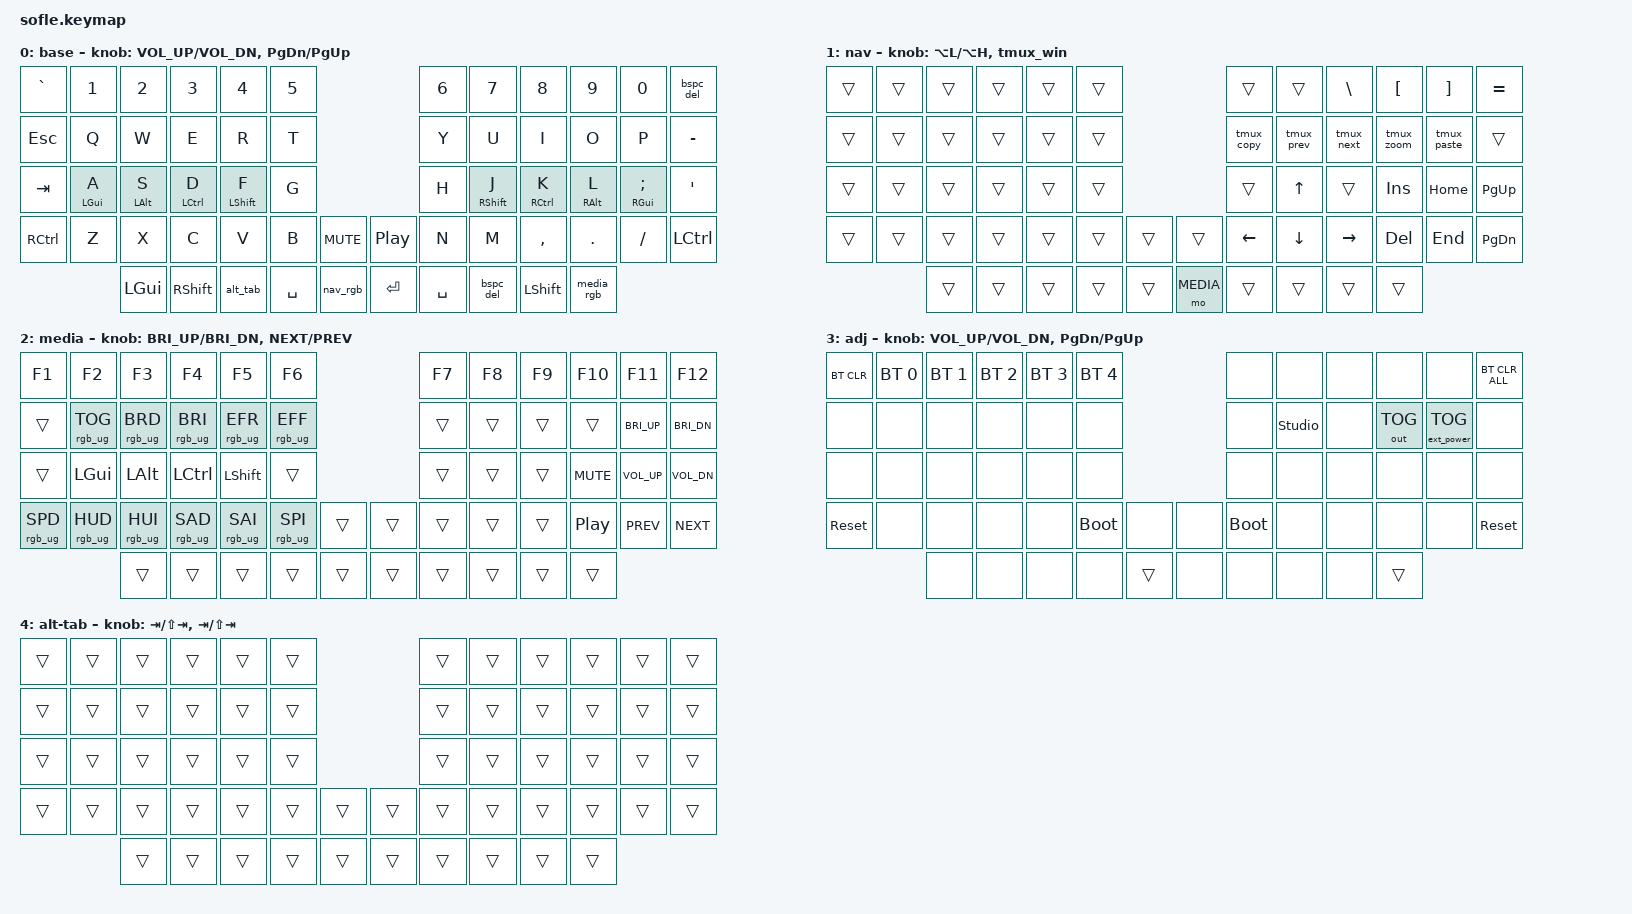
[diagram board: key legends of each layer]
/*
 * Sofle MX 58 — a TKL in two halves.
 *
 * The guiding rule is that the base layer should be the TKL you already know:
 * unshifted QWERTY where a TKL has it, the same bottom-row modifier order, and
 * the nav cluster on NAV in the same 3-wide block, same relative positions.
 * Departures from that are only where 6 columns per half physically cannot
 * hold what a TKL holds, and each one is called out below.
 *
 * Reference points from the rest of this repo:
 *   nvim leader   = <Space>          -> Space is a thumb, unmodified
 *   tmux prefix   = Ctrl+Space       -> .tmux.conf sets TWO: Ctrl+Space is
 *                 or Ctrl+b             prefix, Ctrl+b is prefix2. Ctrl+Space
 *                                       exists for this board: both Spaces
 *                                       together is a combo, and the macros
 *                                       below send it. Ctrl+b is what herdr
 *                                       uses and what the cheatsheet says,
 *                                       but it is NOT a home-row-Ctrl chord:
 *                                       b is a LEFT-half key, so the
 *                                       cross-hand guard refuses the left
 *                                       Ctrl and it types "db". Type that
 *                                       one with either bottom-row corner
 *                                       Ctrl.
 *   Ctrl+hjkl     = nvim window nav  -> home-row Ctrl + base-layer hjkl
 *   Alt+hjkl      = pane/split nav   -> home-row Alt  + base-layer hjkl.
 *                                      One chord for nvim splits AND tmux
 *                                      panes: tmux forwards it into nvim
 *                                      and takes over at the edge split.
 *   jk            = Esc              -> hardware combo, works shell-wide
 *
 * KEY POSITIONS (index into the bindings array, used by the HRM guards)
 *
 *   0  1  2  3  4  5                        6  7  8  9 10 11
 *  12 13 14 15 16 17                       18 19 20 21 22 23
 *  24 25 26 27 28 29                       30 31 32 33 34 35
 *  36 37 38 39 40 41  42              43   44 45 46 47 48 49
 *        50 51 52 53 54              55 56 57 58 59
 *
 *  42/43 are the encoder push-buttons. 50-59 are the thumbs.
 */

#include <behaviors.dtsi>
#include <dt-bindings/zmk/keys.h>
#include <dt-bindings/zmk/bt.h>
#include <dt-bindings/zmk/outputs.h>
#include <dt-bindings/zmk/rgb.h>
#include <dt-bindings/zmk/ext_power.h>

/* Per-key LED chain length, per half.
 *
 * The stock shield overlay says 36 and calls it "arbitrary". It is not: a
 * fully populated Sofle RGB is 29 per-key + 6 rear-facing underglow + 1
 * front-facing indicator = 36. This build has the per-key LEDs only, so 29.
 *
 * Too low and the far end of the chain stays dark; too high and the gradient
 * effects (spectrum, swirl) compress into the LEDs that do exist. To check:
 * pick the spectrum effect and see whether the sweep reaches the last key.
 */
&led_strip { chain-length = <29>; };

#define BASE   0
#define NAV    1
#define MEDIA  2
#define ADJ    3
#define SWITCH 4

/* Cross-hand guards. A home-row mod may only resolve as a hold if the next
 * key comes from the OTHER hand (thumbs count as either). Without this,
 * rolling a same-hand pair like "sd" or "df" at speed fires Alt/Ctrl instead
 * of typing letters — which is the single reason most people give up on
 * home-row mods. */
#define RIGHT_SIDE  6  7  8  9 10 11 18 19 20 21 22 23 30 31 32 33 34 35 43 44 45 46 47 48 49
#define LEFT_SIDE   0  1  2  3  4  5 12 13 14 15 16 17 24 25 26 27 28 29 36 37 38 39 40 41 42
#define THUMBS     50 51 52 53 54 55 56 57 58 59

/ {
    behaviors {
        /* Home-row mods, GACS: GUI / Alt / Ctrl / Shift going inward, so the
         * strongest fingers carry Ctrl and Shift.
         *
         * flavor "balanced"      — hold wins only if another key is pressed
         *                          AND released inside the term, so a slow
         *                          deliberate letter still types.
         * require-prior-idle-ms  — a mod cannot trigger mid-burst; 150ms of
         *                          quiet is the price of a hold. This is the
         *                          other half of the anti-misfire story.
         * hold-trigger-on-release — lets you stack mods (Ctrl+Shift+key)
         *                          instead of the first one resolving early.
         * quick-tap-ms           — tap-then-hold repeats the letter, so held
         *                          `j` in nvim still scrolls.
         */
        hml: homerow_mod_left {
            compatible = "zmk,behavior-hold-tap";
            #binding-cells = <2>;
            flavor = "balanced";
            tapping-term-ms = <200>;
            quick-tap-ms = <175>;
            require-prior-idle-ms = <150>;
            bindings = <&kp>, <&kp>;
            hold-trigger-key-positions = <RIGHT_SIDE THUMBS>;
            hold-trigger-on-release;
        };

        hmr: homerow_mod_right {
            compatible = "zmk,behavior-hold-tap";
            #binding-cells = <2>;
            flavor = "balanced";
            tapping-term-ms = <200>;
            quick-tap-ms = <175>;
            require-prior-idle-ms = <150>;
            bindings = <&kp>, <&kp>;
            hold-trigger-key-positions = <LEFT_SIDE THUMBS>;
            hold-trigger-on-release;
        };

        /* There is deliberately NO mod-tap on the bottom-right corner any
         * more -- it is a plain &kp LCTRL. `]` was its tap half until the TKL
         * keys came back to base and `]` moved to the `/`+corner combo. With
         * no tap half there is nothing for a hold-tap to arbitrate, and
         * dropping it takes the tapping-term latency off a modifier.
         *
         * If a symbol ever wants to live there again, do NOT reach for stock
         * &mt: its hold-preferred flavor turns a lingered tap into the
         * modifier, so a leisurely `]` comes out as Ctrl and swallows the
         * next keystroke. tap-preferred plus a quick-tap-ms (so `]]` repeats
         * instead of arming the mod) is the shape that works. */

        /* Backspace, or Delete when a Shift is held. Delete is the only thing
         * regularly wanted in the other direction, and it is not worth its
         * own key on a 58-key board -- keep-mods means Shift+Delete still
         * reaches the applications that want it. */
        bspc_del: backspace_delete {
            compatible = "zmk,behavior-mod-morph";
            #binding-cells = <0>;
            bindings = <&kp BSPC>, <&kp DEL>;
            mods = <(MOD_LSFT|MOD_RSFT)>;
            keep-mods = <(MOD_LSFT|MOD_RSFT)>;
        };

        /* tmux window next/prev on a knob.
         *
         * &inc_dec_kp cannot do this: it is zmk,behavior-sensor-rotate-VAR,
         * which only parameterises &kp with two keycodes. The plain zero-cell
         * sensor-rotate takes two arbitrary bindings instead, so a detent can
         * fire a macro. (The macros are declared below -- a phandle reference
         * resolves across the whole tree, order does not matter.)
         *
         * A window change is a SEQUENCE, not a chord: tmux's prefix is not
         * held, so each detent is prefix-tap then `j`. That is ~4 HID events
         * plus the macro's own waits, against one event for a knob that only
         * sends a keycode -- so this knob wants deliberate clicks. Spin it
         * hard and the behaviour queue (CONFIG_ZMK_BEHAVIOR_QUEUE_SIZE, 64)
         * runs behind your hand, and past that it drops events. The way out,
         * if it ever annoys: a root-table `bind -n M-n next-window` in
         * .tmux.conf makes it one keycode like the left knob.
         */
        tmux_win: tmux_window_rotate {
            compatible = "zmk,behavior-sensor-rotate";
            #sensor-binding-cells = <0>;
            bindings = <&tmux_next>, <&tmux_prev>;
        };
    };

    macros {
        /* Layer colour. ZMK has no per-key addressing and no "layer entered"
         * hook in the keymap, so a layer indicator can only be the WHOLE
         * board changing colour, driven by the same key that activates the
         * layer. Hence a macro instead of a bare &mo.
         *
         * Only visible on the SOLID effect -- spectrum and swirl paint their
         * own colours over this. And ADJ gets no colour of its own: it is a
         * conditional layer with no key to hang a macro on, so holding both
         * shows whichever of the two you pressed second.
         *
         * Hues are the repo's catppuccin accents, so the board matches the
         * editor: base blue, nav green, media mauve.
         */
        nav_rgb: nav_with_colour {
            compatible = "zmk,behavior-macro";
            #binding-cells = <0>;
            bindings
                = <&macro_press &mo NAV>
                , <&macro_tap &rgb_ug RGB_COLOR_HSB(115,55,40)>
                , <&macro_pause_for_release>
                , <&macro_release &mo NAV>
                , <&macro_tap &rgb_ug RGB_COLOR_HSB(217,70,40)>;
        };

        media_rgb: media_with_colour {
            compatible = "zmk,behavior-macro";
            #binding-cells = <0>;
            bindings
                = <&macro_press &mo MEDIA>
                , <&macro_tap &rgb_ug RGB_COLOR_HSB(267,60,40)>
                , <&macro_pause_for_release>
                , <&macro_release &mo MEDIA>
                , <&macro_tap &rgb_ug RGB_COLOR_HSB(217,70,40)>;
        };

        /* The left thumb Alt, with a layer riding along.
         *
         * "Alt + turn the knob = Alt+Tab" cannot be written directly: ZMK's
         * sensor-bindings are per-layer only and there is no mod-aware
         * variant anywhere in the tree, so a knob can never see what is
         * already held. The way round it is for the Alt key to turn a layer
         * on as well, and for SWITCH to be nothing but a pair of knob
         * bindings.
         *
         * Every key on SWITCH is &trans, so this key is still exactly Alt —
         * Alt+hjkl still moves tmux panes and nvim splits, a tap is still a
         * tap, Alt+anything is still Alt+anything. The only thing that
         * changes in the whole firmware is what the knobs send while this
         * thumb is down: TAB, and Shift+TAB the other way.
         *
         * Alt being HELD by your thumb across every detent is the whole
         * point — that is what keeps the OS switcher open between clicks, so
         * the knob walks the window list. &kp LA(TAB) on the knob instead
         * would press and release Alt once per detent, closing the switcher
         * each time, and just ping-pong between the two most recent windows.
         *
         * Two things this does not cover. The home-row Alts (S, and RALT on
         * L) are hold-taps, not this macro, so the knob stays PgUp/PgDn under
         * them. And the left OLED names the highest active layer, so holding
         * Alt now reads "alt-tab" rather than "base" — there is no way to
         * hide a layer from that widget.
         */
        alt_tab: alt_with_switcher {
            compatible = "zmk,behavior-macro";
            #binding-cells = <0>;
            bindings
                = <&macro_press &kp LALT &mo SWITCH>
                , <&macro_pause_for_release>
                , <&macro_release &mo SWITCH &kp LALT>;
        };

        /* tmux, one key each: the Ctrl+Space prefix (the same chord the
         * both-Spaces combo sends) followed by tmux's stock `[` copy mode and
         * `]` paste-buffer. On NAV+Y and NAV+P. */
        tmux_copy: tmux_copy_mode {
            compatible = "zmk,behavior-macro";
            #binding-cells = <0>;
            bindings = <&macro_tap &kp LC(SPACE) &kp LBKT>;
        };

        tmux_paste: tmux_paste_buffer {
            compatible = "zmk,behavior-macro";
            #binding-cells = <0>;
            bindings = <&macro_tap &kp LC(SPACE) &kp RBKT>;
        };

        /* The rest of NAV's Y-P row, same prefix: previous window (`k`) and
         * next window (`j`) -- this repo's tmux.conf bindings -- and tmux's
         * stock zoom toggle (`z`). */
        tmux_prev: tmux_previous_window {
            compatible = "zmk,behavior-macro";
            #binding-cells = <0>;
            bindings = <&macro_tap &kp LC(SPACE) &kp K>;
        };

        tmux_next: tmux_next_window {
            compatible = "zmk,behavior-macro";
            #binding-cells = <0>;
            bindings = <&macro_tap &kp LC(SPACE) &kp J>;
        };

        tmux_zoom: tmux_zoom_pane {
            compatible = "zmk,behavior-macro";
            #binding-cells = <0>;
            bindings = <&macro_tap &kp LC(SPACE) &kp Z>;
        };
    };

    combos {
        compatible = "zmk,combos";

        /* j+k -> Esc, at the hardware level rather than as an nvim mapping,
         * so it also escapes in nvim-bash vi mode, in a bare `vi` on a box
         * you don't control, and in any TUI that wants Esc. (Esc is also on
         * its own key at the TKL position, top-left — this is the fast one.)
         *
         * 45ms is deliberately tighter than the default: "jk" as a real
         * letter pair is vanishingly rare in English, but a roll through j
         * and k while typing fast is not, and require-prior-idle-ms keeps it
         * from firing mid-word at all. */
        /* Bootloader escape hatches, reachable with the NAV thumb only.
         *
         * ADJ is NAV + MEDIA -- thumbs on OPPOSITE halves -- so every ADJ
         * binding, including the two &bootloader keys, needs the halves
         * paired. That is precisely the state you cannot count on when you
         * need a bootloader, and on a board whose reset button is inside the
         * case it is the difference between reflashing and being stuck.
         *
         * combo_boot_left uses positions 0 and 5 -- the two ends of the left
         * half's number row -- plus the NAV thumb, which is also left. All
         * three are local to the central, so this works with the right half
         * flat, unpaired, or running different firmware.
         *
         * combo_boot_right is the same gesture on the right half's number
         * row. It still needs the halves paired, because a ZMK peripheral
         * never runs the keymap -- it only forwards key positions to the
         * central -- so there is no such thing as a peripheral rescuing
         * itself with a keypress. Nothing to be done about that.
         *
         * Both are two-handed-hard on purpose: opposite ends of a row, on a
         * held layer, with a 50ms window. You will not hit either by accident.
         */
        combo_boot_left {
            bindings = <&bootloader>;
            key-positions = <0 5>;
            timeout-ms = <50>;
            layers = <NAV>;
        };

        combo_boot_right {
            bindings = <&bootloader>;
            key-positions = <6 11>;
            timeout-ms = <50>;
            layers = <NAV>;
        };

        /* Both Shift keys together -> caps word.
         *
         * This is the SystemVerilog key. UVM_INFO, SCREAMING_PARAMS, enum
         * values and macro names are most of what gets typed in this repo,
         * and caps-word's continue-list already carries UNDERSCORE -- so the
         * whole identifier types in one gesture and ends itself at the space,
         * with no Caps Lock left on afterwards.
         *
         * Cross-half, so it needs both halves paired. That is fine: unlike
         * the bootloader combos, nothing about this one is a rescue. */
        combo_caps_word {
            bindings = <&caps_word>;
            key-positions = <51 58>;
            timeout-ms = <50>;
            layers = <BASE>;
        };

        /* Both Space thumbs together -> Ctrl+Space. Space is on both halves,
         * so the pair is a gesture you never make while typing; one space is
         * always one thumb. Cross-half, so it needs both halves paired. This
         * also replaces the Ctrl+Space key NAV used to carry. */
        combo_ctrl_space {
            bindings = <&kp LC(SPACE)>;
            key-positions = <53 56>;
            timeout-ms = <50>;
            layers = <BASE>;
        };

        /* `,` + `.` -> backslash. Regex (\v, \zs -- see the vim log
         * highlighting) and localleader, on base, for no key at all. The pair
         * is meaningless pressed together in vim and vanishingly rare in
         * prose, and require-prior-idle keeps it from firing mid-word. */
        combo_bslh {
            bindings = <&kp BSLH>;
            key-positions = <46 47>;
            timeout-ms = <45>;
            require-prior-idle-ms = <100>;
            layers = <BASE>;
        };

        combo_esc {
            bindings = <&kp ESC>;
            key-positions = <31 32>;
            timeout-ms = <45>;
            require-prior-idle-ms = <100>;
            layers = <BASE>;
        };

        /* h+j -> Enter, the jk idea one key to the left. Enter is on a thumb
         * on the right inner thumb too; this is the one you don't have to move
         * the thumb for. Same guard and window as jk: pressing both at once
         * is a chord, and a real h then j (a vim motion, or a roll through a
         * word) is either slower than 45ms or mid-burst, where
         * require-prior-idle-ms refuses it. */
        combo_ret {
            bindings = <&kp RET>;
            key-positions = <30 31>;
            timeout-ms = <45>;
            require-prior-idle-ms = <100>;
            layers = <BASE>;
        };

        /* The TKL right-side symbols, as chords rather than keys.
         *
         * Six columns per half cannot hold `[ ] \ = ` on top of QWERTY, and
         * the previous answer -- exile them to NAV, keep `[`/`]` as real base
         * keys -- cost the top-right Backspace, which is the single strongest
         * piece of TKL muscle memory there is. These chords buy that key back
         * without pushing anything behind a held layer.
         *
         * NOTE THE MISSING require-prior-idle-ms. Every other combo here has
         * it, because `,.`, `jk` and `qw` are sequences you really do type and
         * the guard is what stops a fast roll firing them. These three are the
         * opposite case: `;'`, `/]` and `l;` are pairs that essentially never
         * occur, so the guard buys almost nothing -- and it would cost a great
         * deal, because it makes a combo REFUSE to fire mid-burst. This nvim
         * config has ~20 `[x`/`]x` mappings; walking a list with `]d]d]d`
         * means firing the same combo three times in a second, and with the
         * guard on, every repeat after the first would silently do nothing.
         * Same for `==`, `<=` and `!=`, which is most lines of RTL.
         *
         * The one real exposure is `l;` in combo_equal: a single-letter
         * variable `l` followed by a semicolon. Rare enough to accept, and the
         * pair to change first if `=` ever appears where it should not.
         *
         * `[`/`]` also stay on NAV+9 / NAV+0 as a fallback. */
        combo_lbkt {
            bindings = <&kp LBKT>;      /* [ and, with Shift, { */
            key-positions = <34 35>;    /* ; + ' */
            timeout-ms = <45>;
            layers = <BASE>;
        };
        combo_rbkt {
            bindings = <&kp RBKT>;      /* ] and, with Shift, } */
            key-positions = <48 49>;    /* / + the Ctrl corner */
            timeout-ms = <45>;
            layers = <BASE>;
        };
        combo_equal {
            bindings = <&kp EQUAL>;     /* = and, with Shift, + */
            key-positions = <33 34>;    /* L + ; */
            timeout-ms = <45>;
            layers = <BASE>;
        };
    };

    /* NAV + MEDIA held together = ADJ. Nothing on ADJ is a typing key, so it
     * costs no base-layer real estate to reach radios and bootloader. */
    conditional_layers {
        compatible = "zmk,conditional-layers";
        adjust_layer {
            if-layers = <NAV MEDIA>;
            then-layer = <ADJ>;
        };
    };

    keymap {
        compatible = "zmk,keymap";

        base_layer {
            display-name = "base";
// Unshifted QWERTY, TKL positions throughout. Shift gives the usual second
// legend on every key (` ~, 1 !, , <, . >, / ?, ; :, ' ", [ {, ] }).
//
// TKL's right-side overflow (`[ ] \` after P, `=` after `-`) does not fit as a
// block, so it is split by how often it is actually typed rather than moved
// wholesale to NAV. `[` and `]` earn base keys: this repo's nvim config has
// twenty `[x`/`]x` mappings (]d [d ]h [h ]t [t ]q [q ]i [i ]o [o ...), and
// Shift on top of them gives `{` and `}`, which are paragraph motions. A
// navigation prefix behind a held layer is the one thing you cannot afford.
// `\` and `=` are rarer and stay on NAV (`=` under `-`, where a TKL has it);
// `\` also has a `,`+`.` combo. NAV keeps `[` and `]` too -- costs nothing,
// and it is the fallback while the fingers relearn.
//
// `[` takes the BSPC slot, which is its TKL position (right after P), and
// Backspace moves to the right thumb. `]` takes the bottom-right corner.
//
// THE CORNERS ARE CTRL, NOT SHIFT. Home-row Ctrl lives on D behind a
// cross-hand guard, so it can only ever fire with a RIGHT-hand key -- which
// makes every left-hand Ctrl chord physically impossible: <C-d> <C-u> scroll,
// <C-w> windows, <C-r> redo, <C-v> blockwise, <C-a>/<C-x> increment,
// <C-e>/<C-y>, and the Ctrl+b prefix above. A guard-free Ctrl on the bottom
// row is the missing half of the home-row-mod story, not a luxury. Shift
// moves down one row onto the thumb keys, which is also where a real
// Shift is still wanted: require-prior-idle-ms means the home-row one refuses
// to fire mid-burst, so capitals typed at speed need a plain key.
//
// The corners are swapped on purpose: RCTRL bottom-left, LCTRL bottom-right.
// Either is a plain Ctrl to almost everything.
//
// The right corner is a plain Ctrl. It carried `]` as a mod-tap's tap half
// until the TKL keys came back to base and `]` became the `/`+corner combo;
// with no tap half there is nothing to arbitrate, and dropping the hold-tap
// takes its tapping-term latency off a modifier. A right Ctrl is only ever
// needed for Ctrl + a left-hand key while the left hand is already busy.
//
// The two inner keys by the encoders are the ENCODER PUSH-BUTTONS, not normal
// keys: awkward to hit deliberately, easy to hit while turning the knob. They
// get things that are harmless to fire by accident and that pair with the
// knob beside them -- mute next to the volume knob, play/pause next to the
// other. Never put a typing key here.
//
// Thumbs, outside in. Left: GUI, Shift, Alt, Space, NAV (innermost). Right:
// Enter (innermost), Space, Backspace, Shift, MEDIA (outermost). Space is on
// BOTH thumbs -- it is the nvim leader and the most-pressed key, so either
// hand can take it. Shift sits second from the outside on each half, which is
// what the both-Shift caps-word combo keys on. NAV and MEDIA are still on
// opposite halves, so holding both still reaches ADJ. h+j is also Enter.
//
// The left thumb ALT is &alt_tab, not &kp LALT: it holds Alt exactly as
// before AND turns on SWITCH, whose only content is knob bindings. So Alt
// alone is unchanged and Alt + turning a knob is Alt+Tab / Alt+Shift+Tab.
// ---------------------------------------------------------------------------------------------------------------
// |  ` ~ | 1 ! | 2 @ | 3 # | 4 $ | 5 % |               | 6 ^ | 7 & | 8 * | 9 ( | 0 ) | BSPC  |
// |  ESC |  Q  |  W  |  E  |  R  |  T  |               |  Y  |  U  |  I  |  O  |  P  |  - _  |
// |  TAB |  A  |  S  |  D  |  F  |  G  |               |  H  |  J  |  K  |  L  | ; : |  ' "  |
// | CTRL |  Z  |  X  |  C  |  V  |  B  | MUTE| |PLAY |  N  |  M  | , < | . > | / ? | CTRL |
//              | GUI | SHFT| ALT | SPC | NAV | | ENT  | SPC |BSPC | SHFT|MEDIA|
//                      home row: GUI ALT CTL SFT           SFT CTL ALT GUI
//                      thumb BSPC: Shift+it is Delete     h+j: Enter   j+k: Esc
            bindings = <
&kp GRAVE &kp N1       &kp N2       &kp N3        &kp N4        &kp N5                              &kp N6    &kp N7        &kp N8        &kp N9       &kp N0          &bspc_del
&kp ESC   &kp Q        &kp W        &kp E         &kp R         &kp T                               &kp Y     &kp U         &kp I         &kp O        &kp P           &kp MINUS
&kp TAB   &hml LGUI A  &hml LALT S  &hml LCTRL D  &hml LSHFT F  &kp G                               &kp H     &hmr RSHFT J  &hmr RCTRL K  &hmr RALT L  &hmr RGUI SEMI  &kp SQT
&kp RCTRL &kp Z        &kp X        &kp C         &kp V         &kp B      &kp C_MUTE   &kp C_PP    &kp N     &kp M         &kp COMMA     &kp DOT      &kp FSLH        &kp LCTRL
                       &kp LGUI     &kp RSHFT     &alt_tab      &kp SPACE  &nav_rgb     &kp RET     &kp SPACE  &bspc_del     &kp LSHFT     &media_rgb
            >;
            /* left knob: volume     right knob: page scroll */
            sensor-bindings = <&inc_dec_kp C_VOL_UP C_VOL_DN &inc_dec_kp PG_DN PG_UP>;
        };

        nav_layer {
            display-name = "nav";
// The TKL nav island, kept as an island. Ins/Home/PgUp over Del/End/PgDn,
// three wide, in the three rightmost columns — same shape and same relative
// positions as on a TKL, so PgUp sits directly above PgDn in the outermost
// column. PrtSc/ScrLk/Pause, the row above it on a TKL, are left out.
//
// TKL's right-side overflow lives on the number row here, under the digits it
// neighbours on a TKL. Shift composes normally: NAV+Shift+9 is `{`. `\` and
// `=` are only here; `[` and `]` are also on base now (see the base layer),
// and are kept here as a fallback because the slots cost nothing.
//
// Arrows are the TKL inverted-T, not hjkl: on the base layer hjkl are already
// hjkl for vim, and this layer's arrows are for everything that ISN'T vim —
// browsers, dialogs, spreadsheets — which is exactly where the TKL shape is
// the one in your fingers.
//
// The left half is empty -- every key transparent, the encoder button too --
// so NAV is a right-hand layer held by the left thumb. The base home-row mods
// show through, so Ctrl+Shift+Left is still hold D+F, tap LEFT.
//
// The Y-P row is tmux, prefix + one key: Y copy mode, U previous window,
// I next window, O zoom, P paste.
//
// NAV+RET is ADJ. It is `&mo MEDIA`, NOT `&mo ADJ`: ADJ is a conditional layer,
// and ZMK's conditional-layer listener switches the then-layer OFF whenever its
// if-layers are not all active -- even when something else turned it on -- so
// `&mo ADJ` with NAV alone held would be cancelled the instant it fired.
// Holding MEDIA satisfies NAV+MEDIA, and the conditional layer does the rest.
// ---------------------------------------------------------------------------------------------------------------
// |      |      |      |      |      |      |             |      |      |  \ |  |  [ { |  ] } | = + |
// |      |      |      |      |      |      |             |TMUX [|WINPRV|WINNXT| ZOOM |TMUX ]|     |
// |      |      |      |      |      |      |             |      |  UP  |      | INS  | HOME |PG UP|
// |      |      |      |      |      |      |     |  |    | LEFT | DOWN | RIGHT| DEL  | END  |PG DN|
//               |      |      |      |      |    |  |     |      |      |      |      |
            bindings = <
&trans  &trans        &trans       &trans     &trans      &trans                        &trans     &trans     &kp BSLH    &kp LBKT  &kp RBKT   &kp EQUAL
&trans  &trans        &trans       &trans     &trans      &trans                        &tmux_copy &tmux_prev &tmux_next  &tmux_zoom &tmux_paste &trans
&trans  &trans        &trans       &trans     &trans      &trans                        &trans     &kp UP     &trans      &kp INS   &kp HOME   &kp PG_UP
&trans  &trans        &trans       &trans     &trans      &trans   &trans    &trans     &kp LEFT   &kp DOWN   &kp RIGHT   &kp DEL   &kp END    &kp PG_DN
                      &trans       &trans     &trans      &trans   &trans    &mo MEDIA     &trans     &trans     &trans      &trans
            >;
            /* Both knobs are the multiplexer: left walks panes, right walks
             * windows. NAV is a LEFT thumb, so the right hand is the free
             * one and the right knob is the comfortable one -- windows are
             * the thing you reach for more.
             *
             * Left is Alt+l / Alt+h, the SAME chord as the seamless pane
             * navigator, so one knob walks tmux panes, nvim splits and
             * toggleterm buffers as a single space (.tmux.conf's is_vim
             * check forwards it into nvim and hands back at the edge). One
             * keycode per detent, so unlike the right knob it spins freely.
             *
             * Neither of these displaces anything. Ctrl+Tab was browser tabs,
             * which Ctrl + the BASE knob already does (Ctrl+PgDn/PgUp), and
             * word-wise cursor is Ctrl + NAV's own arrows -- the left half is
             * transparent here, so the base home-row mods show through. */
            sensor-bindings = <&inc_dec_kp LA(L) LA(H) &tmux_win>;
        };

        media_layer {
            display-name = "media";
// F1-F12 straight across the number row, in the same order and the same place
// as a TKL's function row sits above its number row — so F5 and F12 are where
// your hand already goes.
//
// MEDIA is held by the right thumb on the OUTERMOST key, so the media keys sit
// in the two rightmost columns, under F11 and F12, where the right fingers
// already are: brightness up/down, volume up/down, prev/next, top to bottom.
// Mute is on L and play/pause on `.`, beside them.
// ---------------------------------------------------------------------------------------------------------------
// |  F1  |  F2  |  F3  |  F4  |  F5  |  F6  |             |  F7  |  F8  |  F9  | F10  | F11  | F12  |
// |      |RGBtog|RGBdim|RGBbrt|EFF - |EFF + |             |      |      |      |      | BRI+ | BRI- |
// |      | GUI  | ALT  | CTRL | SHFT |      |             |      |      |      | MUTE | VOL+ | VOL- |
// |SPD - |HUE - |HUE + |SAT - |SAT + |SPD + |    |  |     |      |      |      | PLAY | PREV | NEXT |
//               |      |      |      |      |    |  |     |      |      |      |      |
            bindings = <
&kp F1  &kp F2    &kp F3    &kp F4     &kp F5     &kp F6                          &kp F7      &kp F8    &kp F9      &kp F10     &kp F11       &kp F12
&trans           &rgb_ug RGB_TOG &rgb_ug RGB_BRD &rgb_ug RGB_BRI &rgb_ug RGB_EFR &rgb_ug RGB_EFF          &trans      &trans    &trans      &trans       &kp C_BRI_UP &kp C_BRI_DN
&trans           &kp LGUI        &kp LALT        &kp LCTRL       &kp LSHFT       &trans                   &trans      &trans    &trans      &kp C_MUTE  &kp C_VOL_UP  &kp C_VOL_DN
&rgb_ug RGB_SPD  &rgb_ug RGB_HUD &rgb_ug RGB_HUI &rgb_ug RGB_SAD &rgb_ug RGB_SAI &rgb_ug RGB_SPI  &trans    &trans   &trans      &trans    &trans      &kp C_PP    &kp C_PREV    &kp C_NEXT
                  &trans    &trans     &trans     &trans   &trans    &trans       &trans      &trans    &trans      &trans
            >;
            /* Brightness moved to the LEFT knob and volume dropped. MEDIA is
             * a RIGHT thumb, so here it is the LEFT hand that is free and the
             * left knob that is comfortable -- the mirror of NAV. Volume was
             * only ever a copy of the base knob, which needs no layer at all,
             * so the copy cost a good knob for nothing.
             *
             * The right knob takes the track, which pairs it with the right
             * encoder BUTTON: play/pause on the button, seek on the knob, one
             * transport cluster under one hand. */
            sensor-bindings = <&inc_dec_kp C_BRI_UP C_BRI_DN &inc_dec_kp C_NEXT C_PREV>;
        };

        adj_layer {
            display-name = "adj";
// Radios, bootloader, the ZMK Studio unlock, and the external power rail.
// `&studio_unlock` sits on U ("unlock") — Studio refuses every edit until it
// is pressed, and it is deliberately three keys deep so it cannot be hit by
// accident.
//
// EPTOG (`&ext_power EP_TOG`) toggles the nice!nano's P0.13 rail, which feeds
// BOTH the per-key LEDs and the OLED. It is here because that rail's state is
// saved to flash and, per ZMK's own docs, "persists across restarts and
// firmware flashes" — so a board that ever cut it (which every build before
// this one did on idle, see CONFIG_ZMK_RGB_UNDERGLOW_EXT_POWER in sofle.conf)
// comes up with dark OLEDs no matter what you flash, and needs one press of
// this to come back. Nothing turns the rail off on its own any more, so this
// is a one-time repair key and a manual "kill the LED rail" switch, not
// something the firmware drives.
// ---------------------------------------------------------------------------------------------------------------
// | BTCLR | BT1 | BT2 | BT3 | BT4 | BT5 |            |     |UNLOCK|     | OUT |EPTOG| BTCLRALL |
// ---------------------------------------------------------------------------------------------------------------
            bindings = <
&bt BT_CLR  &bt BT_SEL 0  &bt BT_SEL 1  &bt BT_SEL 2  &bt BT_SEL 3  &bt BT_SEL 4                     &none  &none           &none  &none        &none  &bt BT_CLR_ALL
&none       &none         &none         &none         &none         &none                            &none  &studio_unlock  &none  &out OUT_TOG &ext_power EP_TOG  &none
&none       &none         &none         &none         &none         &none                            &none  &none           &none  &none        &none  &none
&sys_reset  &none         &none         &none         &none         &bootloader  &none     &none     &bootloader &none      &none  &none        &none  &sys_reset
                          &none         &none         &none         &none        &trans    &none     &none       &none      &none  &trans
            >;
            sensor-bindings = <&inc_dec_kp C_VOL_UP C_VOL_DN &inc_dec_kp PG_DN PG_UP>;
        };

        switch_layer {
            display-name = "alt-tab";
// Knobs only. Reached by holding the left thumb Alt, which is &alt_tab and so
// holds Alt at the same time — the knob's TAB therefore lands as Alt+Tab, and
// because your thumb keeps Alt down across detents the OS switcher stays open
// and the knob walks the window list. Turn back the other way for Shift+Tab.
// Release the thumb and the switcher commits to whatever is highlighted.
//
// EVERY KEY HERE IS &trans, on purpose. That is what keeps the Alt thumb an
// ordinary Alt: base shows through untouched, so Alt+hjkl, Alt+letter and a
// bare Alt tap all behave exactly as they did before this layer existed. Put
// a real binding here and you have changed what Alt does, which is not the
// deal. See the &alt_tab macro for the rest of the reasoning.
//
// Both knobs do it. The right one is the comfortable one — the left thumb is
// busy holding Alt, so the right hand is the free one — and the left is here
// only so a hand already resting on it does not have to move.
//
// This layer took the FIRST of the two reserved Studio slots rather than
// being appended, which is what keeps BASE/NAV/MEDIA/ADJ at 0-3 and leaves
// the conditional layer's if-layers alone. One spare slot is left.
            bindings = <
&trans  &trans  &trans  &trans  &trans  &trans                  &trans  &trans  &trans  &trans  &trans  &trans
&trans  &trans  &trans  &trans  &trans  &trans                  &trans  &trans  &trans  &trans  &trans  &trans
&trans  &trans  &trans  &trans  &trans  &trans                  &trans  &trans  &trans  &trans  &trans  &trans
&trans  &trans  &trans  &trans  &trans  &trans  &trans  &trans  &trans  &trans  &trans  &trans  &trans  &trans
                &trans  &trans  &trans  &trans  &trans  &trans  &trans  &trans  &trans  &trans
            >;
            /* both knobs: walk the window switcher */
            sensor-bindings = <&inc_dec_kp TAB LS(TAB) &inc_dec_kp TAB LS(TAB)>;
        };

        /* Empty slot that exists only so ZMK Studio has somewhere to put a
         * new layer. Studio cannot create layers that devicetree did not
         * declare, and adding one later means a reflash — which is exactly
         * the thing Studio is supposed to save you. Cost is a few bytes.
         * There were two; switch_layer above took the other one. */
        extra2 { status = "reserved"; };
    };
};
